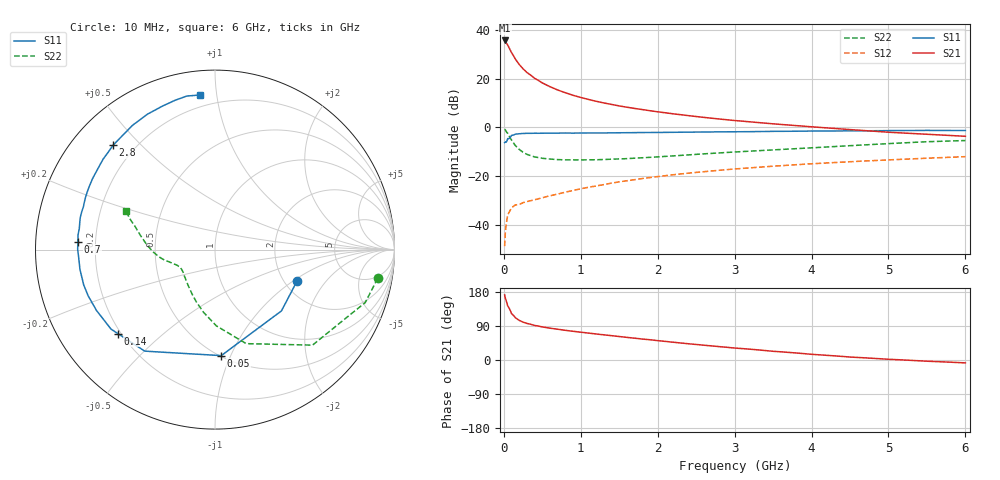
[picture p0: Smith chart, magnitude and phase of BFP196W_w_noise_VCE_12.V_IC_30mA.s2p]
! Infineon Technologies  Discrete & RF Semiconductors
! BFP196W
! VCE =  12. V,  IC =  30 mA
! Common Emitter S-Parameters:  Jan 2017
# GHz  S  MA  R  50
!  f  S11  S21  S12  S22
! GHz  MAG  ANG  MAG  ANG  MAG  ANG  MAG  ANG
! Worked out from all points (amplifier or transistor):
!   77 points, 10 MHz to 6 GHz, reference 50 ohm
!   highest |S21| = 35.6 dB at 10 MHz (marker M1)
!   |S21| within 3 dB of that: start of sweep to 68.47 MHz
!   unconditionally stable (mu >= 1): 881.5 MHz to 3.23 GHz
!   at 130 MHz: K = 0.31, MSG = 30.7 dB, |S12| = -32.2 dB
!   at 2.2 GHz: K = 1.05, MAG = 11.1 dB, |S12| = -19.4 dB
!   at 6 GHz: K = 0.91, MSG = 4.2 dB, |S12| = -12.0 dB
!   lowest NFmin = 1.13 dB at 450 MHz
!   S11 on the Smith chart (normalised r, x): 10 MHz: 2.34, -1.07; 50 MHz: 0.51, -0.92; 140 MHz: 0.19, -0.36; 700 MHz: 0.13, +0.03; 2.8 GHz: 0.12, +0.42; 6 GHz: 0.13, +0.90
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0.01  0.4897 -20.8  60.45 171.8  0.0037 69.9  0.9206 -10.0
0.02  0.5037 -42.7  58.1 163.1  0.0073 70.2  0.8876 -19.4
0.05  0.5917 -86.6  48.81 142.8  0.0159 54.8  0.7606 -44.4
0.1  0.688 -124.7  34.09 122.3  0.0226 42.9  0.5523 -71.6
0.14  0.7156 -139.2  26.77 114.2  0.0252 38.1  0.4464 -84.8
0.15  0.7292 -142.6  25.05 111.5  0.0259 37.0  0.4247 -89.0
0.2  0.7422 -152.8  19.49 104.6  0.0264 36.5  0.355 -100.4
0.25  0.7521 -159.9  15.88 99.8  0.0288 35.9  0.3099 -109.5
0.3  0.7575 -164.9  13.36 96.5  0.0303 37.7  0.2816 -116.5
0.4  0.7605 -171.6  10.16 91.2  0.0329 40.7  0.2493 -126.9
0.5  0.7607 -176.5  8.155 87.3  0.0363 44.0  0.2335 -134.0
0.6  0.7652 179.8  6.827 84.0  0.0399 46.5  0.2253 -139.2
0.7  0.7652 176.7  5.85 81.2  0.0431 49.4  0.2193 -143.1
0.9  0.7651 171.1  4.551 75.8  0.0511 52.1  0.2167 -148.1
1.1  0.7717 166.5  3.745 71.1  0.0596 54.7  0.2171 -151.5
1.5  0.7779 158.0  2.759 62.0  0.0768 56.3  0.2266 -156.9
2.1  0.7918 146.3  1.995 49.1  0.1028 55.1  0.2552 -163.4
2.8  0.8127 134.4  1.488 35.3  0.1326 51.4  0.3005 -170.4
3.1  0.8173 129.6  1.344 30.1  0.1448 49.3  0.3204 -173.8
4.1  0.844 115.2  1.004 13.7  0.1837 42.3  0.39 174.3
5.1  0.8625 104.1  0.782 1.0  0.2197 34.8  0.4746 162.8
6  0.8655 95.6  0.658 -7.6  0.2521 28.0  0.5395 156.5
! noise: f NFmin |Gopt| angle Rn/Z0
0.45  1.13  0.45  178  0.05
0.9  1.29  0.52  -176  0.06
1.9  2.14  0.68  -151  0.13
2.4  2.54  0.73  -146  0.22
